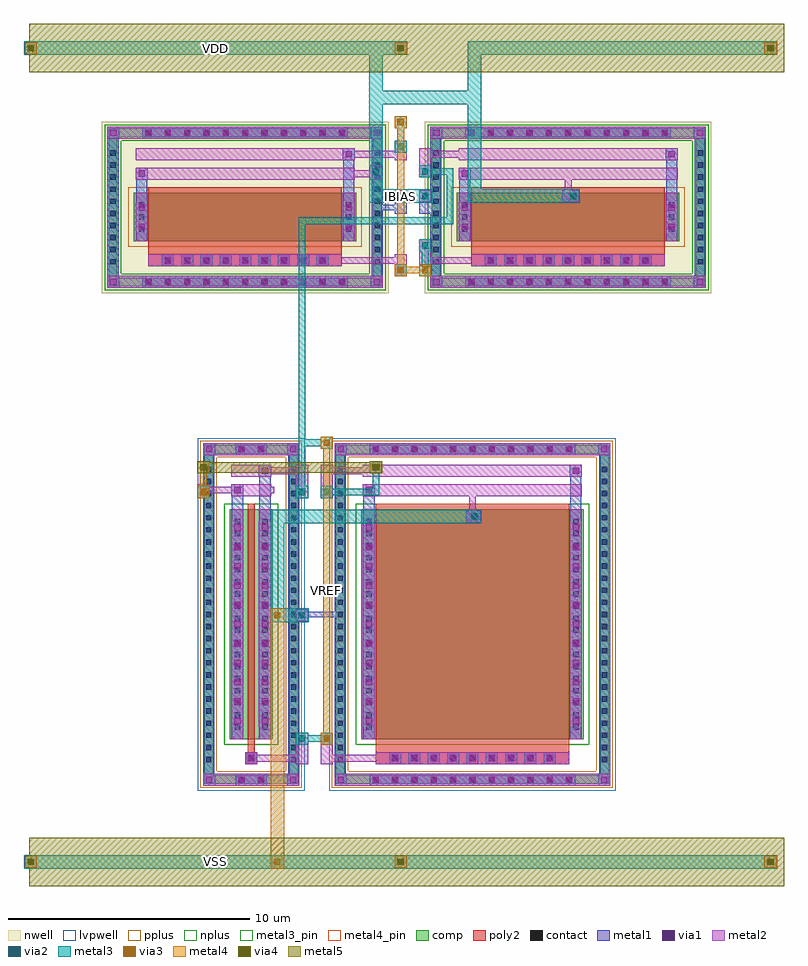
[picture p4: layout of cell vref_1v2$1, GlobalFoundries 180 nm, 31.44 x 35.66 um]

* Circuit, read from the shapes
.subckt vref_1v2$1 IBIAS VDD VREF VSS
XM1 VREF VREF n1 VSS nfet_03v3 w=9.5u l=0.28u
XM2 n1 VREF VSS VSS nfet_03v3 w=9.5u l=8u
XM3 IBIAS IBIAS VDD VDD pfet_03v3 w=2u l=8u
XM4 VREF IBIAS VDD VDD pfet_03v3 w=2u l=8u
.ends

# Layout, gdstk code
import gdstk
lib = gdstk.Library(unit=1e-6, precision=1e-09)
def R(c, l, rs):  # rectangles x0, y0, x1, y1
    for r in rs: c.add(gdstk.rectangle(r[:2], r[2:], *l))
def A(c, l, x, y, w, h, nx, ny, dx, dy):  # array of equal rectangles
    R(c, l, [(x+i*dx, y+j*dy, x+i*dx+w, y+j*dy+h) for i in range(nx) for j in range(ny)])
def P(c, l, *ps):  # polygons
    for p in ps: c.add(gdstk.Polygon(p, *l))
nwell = (21, 0)
comp = (22, 0)
poly2 = (30, 0)
pplus = (31, 0)
nplus = (32, 0)
contact = (33, 0)
metal1 = (34, 0)
via1 = (35, 0)
metal2 = (36, 0)
via2 = (38, 0)
via3 = (40, 0)
via4 = (41, 0)
metal3 = (42, 0)
metal3_pin = (42, 10)
metal4 = (46, 0)
metal4_pin = (46, 10)
metal5 = (81, 0)
lvpwell = (204, 0)

vref_1v2_1 = lib.new_cell('vref_1v2$1')
R(vref_1v2_1, nwell, [(-12.61,20.59,-0.75,27.68), (0.75,20.59,12.61,27.68)])
A(vref_1v2_1, comp, -1.46, 0.28, 0.36, 0.36, 11, 2, 0.8, 13.67)
A(vref_1v2_1, comp, -8.37, 1.115, 0.36, 0.36, 1, 25, 0, 0.5)
A(vref_1v2_1, comp, -4.85, 1.115, 0.36, 0.36, 1, 25, 0, 0.5)
A(vref_1v2_1, comp, -2.93, 1.115, 0.36, 0.36, 1, 25, 0, 0.5)
A(vref_1v2_1, comp, 8.01, 1.115, 0.36, 0.36, 1, 25, 0, 0.5)
A(vref_1v2_1, comp, -10.86, 20.87, 0.36, 0.36, 11, 2, 0.8, 6.17)
A(vref_1v2_1, comp, 2.5, 20.87, 0.36, 0.36, 11, 2, 0.8, 6.17)
A(vref_1v2_1, comp, -12.33, 21.705, 0.36, 0.36, 1, 10, 0, 0.5)
A(vref_1v2_1, comp, -1.39, 21.705, 0.36, 0.36, 1, 10, 0, 0.5)
A(vref_1v2_1, comp, 1.03, 21.705, 0.36, 0.36, 1, 10, 0, 0.5)
A(vref_1v2_1, comp, 11.97, 21.705, 0.36, 0.36, 1, 10, 0, 0.5)
R(vref_1v2_1, comp, [(-7.01,0.28,-6.65,0.64), (-7.01,0.28,-5.85,0.64), (-6.21,0.28,-5.85,0.64), (-1.46,0.28,6.9,0.64), (-8.37,1.115,-8.01,13.475), (-4.85,1.115,-4.49,13.475), (-2.93,1.115,-2.57,13.475), (8.01,1.115,8.37,13.475), (-7.32,2.14,-5.54,11.64), (-1.88,2.14,7.32,11.64), (-7.01,13.95,-6.65,14.31), (-7.01,13.95,-5.85,14.31), (-6.21,13.95,-5.85,14.31), (-1.46,13.95,6.9,14.31), (-10.86,20.87,-2.5,21.23), (2.5,20.87,10.86,21.23), (-12.33,21.705,-11.97,26.565), (-1.39,21.705,-1.03,26.565), (1.03,21.705,1.39,26.565), (11.97,21.705,12.33,26.565), (-11.28,22.73,-2.08,24.73), (2.08,22.73,11.28,24.73), (-10.86,27.04,-2.5,27.4), (2.5,27.04,10.86,27.4)])
P(vref_1v2_1, comp, [(-12.33,20.87),(-12.33,21.23),(-1.39,21.23),(-1.39,27.04),(-11.97,27.04),(-11.97,21.23),(-12.33,21.23),(-12.33,27.4),(-1.03,27.4),(-1.03,20.87)],
  [(-2.93,0.28),(-2.93,0.64),(8.01,0.64),(8.01,13.95),(-2.57,13.95),(-2.57,0.64),(-2.93,0.64),(-2.93,14.31),(8.37,14.31),(8.37,0.28)],
  [(-8.37,0.28),(-8.37,0.64),(-4.85,0.64),(-4.85,13.95),(-8.01,13.95),(-8.01,0.64),(-8.37,0.64),(-8.37,14.31),(-4.49,14.31),(-4.49,0.28)],
  [(1.03,20.87),(1.03,21.23),(11.97,21.23),(11.97,27.04),(1.39,27.04),(1.39,21.23),(1.03,21.23),(1.03,27.4),(12.33,27.4),(12.33,20.87)])
A(vref_1v2_1, poly2, -0.66, 1.17, 0.36, 0.36, 9, 1, 0.8, 0)
A(vref_1v2_1, poly2, -10.06, 21.76, 0.36, 0.36, 9, 1, 0.8, 0)
A(vref_1v2_1, poly2, 3.3, 21.76, 0.36, 0.36, 9, 1, 0.8, 0)
R(vref_1v2_1, poly2, [(-6.68,1.1,-6.18,1.6), (-1.28,1.1,6.72,1.6), (-6.61,1.17,-6.25,1.53), (-6.57,1.6,-6.29,1.9), (-1.28,1.6,6.72,1.9), (-6.57,1.9,-6.29,11.88), (-1.28,1.9,6.72,11.88), (-10.68,21.69,-2.68,22.19), (2.68,21.69,10.68,22.19), (-10.68,22.19,-2.68,22.49), (2.68,22.19,10.68,22.49), (-10.68,22.49,-2.68,24.97), (2.68,22.49,10.68,24.97)])
R(vref_1v2_1, pplus, [(-11.51,22.5,-1.85,24.96), (1.85,22.5,11.51,24.96)])
P(vref_1v2_1, pplus, [(-3.09,0.12),(-3.09,0.8),(7.85,0.8),(7.85,13.79),(-2.41,13.79),(-2.41,0.8),(-3.09,0.8),(-3.09,14.47),(8.53,14.47),(8.53,0.12)],
  [(-8.53,0.12),(-8.53,0.8),(-5.01,0.8),(-5.01,13.79),(-7.85,13.79),(-7.85,0.8),(-8.53,0.8),(-8.53,14.47),(-4.33,14.47),(-4.33,0.12)])
R(vref_1v2_1, nplus, [(-7.55,1.91,-5.31,11.87), (-2.11,1.91,7.55,11.87)])
P(vref_1v2_1, nplus, [(-12.49,20.71),(-12.49,21.39),(-1.55,21.39),(-1.55,26.88),(-11.81,26.88),(-11.81,21.39),(-12.49,21.39),(-12.49,27.56),(-0.87,27.56),(-0.87,20.71)],
  [(0.87,20.71),(0.87,21.39),(11.81,21.39),(11.81,26.88),(1.55,26.88),(1.55,21.39),(0.87,21.39),(0.87,27.56),(12.49,27.56),(12.49,20.71)])
A(vref_1v2_1, contact, -1.39, 0.35, 0.22, 0.22, 11, 2, 0.8, 13.67)
A(vref_1v2_1, contact, -8.3, 1.185, 0.22, 0.22, 1, 25, 0, 0.5)
A(vref_1v2_1, contact, -4.78, 1.185, 0.22, 0.22, 1, 25, 0, 0.5)
A(vref_1v2_1, contact, -2.86, 1.185, 0.22, 0.22, 1, 25, 0, 0.5)
A(vref_1v2_1, contact, 8.08, 1.185, 0.22, 0.22, 1, 25, 0, 0.5)
A(vref_1v2_1, contact, -0.59, 1.24, 0.22, 0.22, 9, 1, 0.8, 0)
A(vref_1v2_1, contact, -7.11, 2.53, 0.22, 0.22, 1, 18, 0, 0.5)
A(vref_1v2_1, contact, -5.97, 2.53, 0.22, 0.22, 1, 18, 0, 0.5)
A(vref_1v2_1, contact, -1.67, 2.53, 0.22, 0.22, 1, 18, 0, 0.5)
A(vref_1v2_1, contact, 6.89, 2.53, 0.22, 0.22, 1, 18, 0, 0.5)
A(vref_1v2_1, contact, -10.79, 20.94, 0.22, 0.22, 11, 2, 0.8, 6.17)
A(vref_1v2_1, contact, 2.57, 20.94, 0.22, 0.22, 11, 2, 0.8, 6.17)
A(vref_1v2_1, contact, -12.26, 21.775, 0.22, 0.22, 1, 10, 0, 0.5)
A(vref_1v2_1, contact, -1.32, 21.775, 0.22, 0.22, 1, 10, 0, 0.5)
A(vref_1v2_1, contact, 1.1, 21.775, 0.22, 0.22, 1, 10, 0, 0.5)
A(vref_1v2_1, contact, 12.04, 21.775, 0.22, 0.22, 1, 10, 0, 0.5)
A(vref_1v2_1, contact, -9.99, 21.83, 0.22, 0.22, 9, 1, 0.8, 0)
A(vref_1v2_1, contact, 3.37, 21.83, 0.22, 0.22, 9, 1, 0.8, 0)
A(vref_1v2_1, contact, -11.07, 23.12, 0.22, 0.22, 1, 3, 0, 0.5)
A(vref_1v2_1, contact, -2.51, 23.12, 0.22, 0.22, 1, 3, 0, 0.5)
A(vref_1v2_1, contact, 2.29, 23.12, 0.22, 0.22, 1, 3, 0, 0.5)
A(vref_1v2_1, contact, 10.85, 23.12, 0.22, 0.22, 1, 3, 0, 0.5)
R(vref_1v2_1, contact, [(-6.94,0.35,-6.72,0.57), (-6.14,0.35,-5.92,0.57), (-6.54,1.24,-6.32,1.46), (-6.94,14.02,-6.72,14.24), (-6.14,14.02,-5.92,14.24)])
A(vref_1v2_1, metal1, -1.53, 0.21, 0.5, 0.5, 11, 2, 0.8, 13.67)
A(vref_1v2_1, metal1, -8.42, 1.065, 0.46, 0.46, 1, 25, 0, 0.5)
A(vref_1v2_1, metal1, -4.9, 1.065, 0.46, 0.46, 1, 25, 0, 0.5)
A(vref_1v2_1, metal1, -2.98, 1.065, 0.46, 0.46, 1, 25, 0, 0.5)
A(vref_1v2_1, metal1, 7.96, 1.065, 0.46, 0.46, 1, 25, 0, 0.5)
A(vref_1v2_1, metal1, -0.73, 1.1, 0.5, 0.5, 9, 1, 0.8, 0)
A(vref_1v2_1, metal1, -7.23, 2.41, 0.46, 0.46, 1, 18, 0, 0.5)
A(vref_1v2_1, metal1, -6.09, 2.41, 0.46, 0.46, 1, 18, 0, 0.5)
A(vref_1v2_1, metal1, -1.79, 2.41, 0.46, 0.46, 1, 18, 0, 0.5)
A(vref_1v2_1, metal1, 6.77, 2.41, 0.46, 0.46, 1, 18, 0, 0.5)
A(vref_1v2_1, metal1, -7.25, 2.64, 0.5, 0.5, 1, 11, 0, 0.8)
A(vref_1v2_1, metal1, -6.11, 2.64, 0.5, 0.5, 1, 11, 0, 0.8)
A(vref_1v2_1, metal1, -1.81, 2.64, 0.5, 0.5, 1, 11, 0, 0.8)
A(vref_1v2_1, metal1, 6.75, 2.64, 0.5, 0.5, 1, 11, 0, 0.8)
A(vref_1v2_1, metal1, -10.93, 20.8, 0.5, 0.5, 11, 2, 0.8, 6.17)
A(vref_1v2_1, metal1, 2.43, 20.8, 0.5, 0.5, 11, 2, 0.8, 6.17)
A(vref_1v2_1, metal1, -12.38, 21.655, 0.46, 0.46, 1, 10, 0, 0.5)
A(vref_1v2_1, metal1, -1.44, 21.655, 0.46, 0.46, 1, 10, 0, 0.5)
A(vref_1v2_1, metal1, 0.98, 21.655, 0.46, 0.46, 1, 10, 0, 0.5)
A(vref_1v2_1, metal1, 11.92, 21.655, 0.46, 0.46, 1, 10, 0, 0.5)
A(vref_1v2_1, metal1, -10.13, 21.69, 0.5, 0.5, 9, 1, 0.8, 0)
A(vref_1v2_1, metal1, 3.23, 21.69, 0.5, 0.5, 9, 1, 0.8, 0)
A(vref_1v2_1, metal1, -11.19, 23, 0.46, 0.46, 1, 3, 0, 0.5)
A(vref_1v2_1, metal1, -2.63, 23, 0.46, 0.46, 1, 3, 0, 0.5)
A(vref_1v2_1, metal1, 2.17, 23, 0.46, 0.46, 1, 3, 0, 0.5)
A(vref_1v2_1, metal1, 10.73, 23, 0.46, 0.46, 1, 3, 0, 0.5)
R(vref_1v2_1, metal1, [(-8.42,0.21,-7.92,0.71), (-8.42,0.21,-7.92,0.71), (-8.42,0.21,-7.96,0.64), (-7.08,0.21,-6.58,0.71), (-7.08,0.21,-5.78,0.71), (-6.28,0.21,-5.78,0.71), (-4.94,0.21,-4.44,0.71), (-4.94,0.21,-4.44,0.71), (-4.9,0.21,-4.44,0.64), (-2.98,0.21,-2.48,0.71), (-2.98,0.21,-2.48,0.71), (-2.98,0.21,-2.52,0.64), (-1.53,0.21,6.97,0.71), (7.92,0.21,8.42,0.71), (7.92,0.21,8.42,0.71), (7.96,0.21,8.42,0.64), (-8.42,0.64,-7.96,13.95), (-4.9,0.64,-4.44,13.95), (-2.98,0.64,-2.52,13.95), (7.96,0.64,8.42,13.95), (-6.68,1.1,-6.18,1.6), (-7.23,2.14,-6.77,11.64), (-6.09,2.14,-5.63,11.64), (-1.79,2.14,-1.33,11.64), (6.77,2.14,7.23,11.64), (-7.25,2.64,-6.75,11.14), (-6.11,2.64,-5.61,11.14), (-1.81,2.64,-1.31,11.14), (6.75,2.64,7.25,11.14), (-4.58,7.01,-4.08,7.51), (-4.58,7.01,-4.08,7.55), (-4.58,7.01,-4.08,7.55), (-4.58,7.01,-4.08,7.55), (-4.58,7.01,-4.08,7.55), (-4.555,7.025,-4.44,7.185), (-4.555,7.025,-4.44,7.185), (-4.445,7.025,-4.44,7.185), (-4.445,7.025,-4.44,7.185), (-2.98,7.025,-2.865,7.185), (-2.98,7.025,-2.865,7.185), (-4.555,7.185,-4.215,7.415), (-4.555,7.185,-4.215,7.415), (-4.445,7.185,-2.865,7.415), (-4.445,7.185,-2.865,7.415), (-4.555,7.415,-4.44,7.565), (-4.555,7.415,-4.44,7.565), (-4.445,7.415,-4.44,7.565), (-4.445,7.415,-4.44,7.565), (-2.98,7.415,-2.865,7.565), (-2.98,7.415,-2.865,7.565), (-4.58,7.55,-4.44,7.565), (-4.58,7.55,-4.44,7.565), (-4.58,7.55,-4.44,7.565), (-4.58,7.55,-4.44,7.565), (-7.23,11.64,-6.77,12.69), (-6.09,11.64,-5.63,13.49), (-1.79,11.64,-1.33,12.69), (6.77,11.64,7.23,13.49), (-7.25,12.19,-6.75,12.69), (-1.81,12.19,-1.31,12.69), (-6.11,12.99,-5.61,13.49), (6.75,12.99,7.25,13.49), (-8.42,13.88,-7.92,14.38), (-8.42,13.88,-7.92,14.38), (-7.08,13.88,-6.58,14.38), (-7.08,13.88,-5.78,14.38), (-6.28,13.88,-5.78,14.38), (-4.94,13.88,-4.44,14.38), (-4.94,13.88,-4.44,14.38), (-2.98,13.88,-2.48,14.38), (-2.98,13.88,-2.48,14.38), (-1.53,13.88,6.97,14.38), (7.92,13.88,8.42,14.38), (7.92,13.88,8.42,14.38), (-8.42,13.95,-7.96,14.38), (-4.9,13.95,-4.44,14.38), (-2.98,13.95,-2.52,14.38), (7.96,13.95,8.42,14.38), (-12.38,20.8,-11.88,21.3), (-12.38,20.8,-11.88,21.3), (-12.38,20.8,-11.92,21.23), (-10.93,20.8,-2.43,21.3), (-1.48,20.8,-0.98,21.3), (-1.48,20.8,-0.98,21.3), (-1.44,20.8,-0.98,21.23), (0.98,20.8,1.48,21.3), (0.98,20.8,1.48,21.3), (0.98,20.8,1.44,21.23), (2.43,20.8,10.93,21.3), (11.88,20.8,12.38,21.3), (11.88,20.8,12.38,21.3), (11.92,20.8,12.38,21.23), (-12.38,21.23,-11.92,27.04), (-1.44,21.23,-0.98,27.04), (0.98,21.23,1.44,27.04), (11.92,21.23,12.38,27.04), (-11.19,22.73,-10.73,24.73), (-2.63,22.73,-2.17,24.73), (2.17,22.73,2.63,24.73), (10.73,22.73,11.19,24.73), (-11.21,23.08,-10.71,23.58), (-11.21,23.08,-10.71,24.38), (-2.65,23.08,-2.15,23.58), (-2.65,23.08,-2.15,24.38), (2.15,23.08,2.65,23.58), (2.15,23.08,2.65,24.38), (10.71,23.08,11.21,23.58), (10.71,23.08,11.21,24.38), (0.98,23.615,1.02,23.88), (-11.21,23.88,-10.71,24.38), (-2.65,23.88,-2.15,24.38), (-0.5,23.88,0,24.85), (0.52,23.88,1.02,24.85), (2.15,23.88,2.65,24.38), (10.71,23.88,11.21,24.38), (-1.095,24.015,-0.135,24.245), (0.655,24.015,1.095,24.245), (-0.5,24.35,0,24.85), (0.52,24.35,1.02,24.85), (-11.19,24.73,-10.73,25.78), (-2.63,24.73,-2.17,26.58), (2.17,24.73,2.63,25.78), (10.73,24.73,11.19,26.58), (-11.21,25.28,-10.71,25.78), (2.15,25.28,2.65,25.78), (-2.65,26.08,-2.15,26.58), (10.71,26.08,11.21,26.58), (-12.38,26.97,-11.88,27.47), (-12.38,26.97,-11.88,27.47), (-10.93,26.97,-2.43,27.47), (-1.48,26.97,-0.98,27.47), (-1.48,26.97,-0.98,27.47), (0.98,26.97,1.48,27.47), (0.98,26.97,1.48,27.47), (2.43,26.97,10.93,27.47), (11.88,26.97,12.38,27.47), (11.88,26.97,12.38,27.47), (-12.38,27.04,-11.92,27.47), (-1.44,27.04,-0.98,27.47), (0.98,27.04,1.44,27.47), (11.92,27.04,12.38,27.47)])
A(vref_1v2_1, via1, -1.41, 0.33, 0.26, 0.26, 11, 2, 0.8, 13.67)
A(vref_1v2_1, via1, -0.61, 1.22, 0.26, 0.26, 9, 1, 0.8, 0)
A(vref_1v2_1, via1, -7.13, 2.76, 0.26, 0.26, 1, 11, 0, 0.8)
A(vref_1v2_1, via1, -5.99, 2.76, 0.26, 0.26, 1, 11, 0, 0.8)
A(vref_1v2_1, via1, -1.69, 2.76, 0.26, 0.26, 1, 11, 0, 0.8)
A(vref_1v2_1, via1, 6.87, 2.76, 0.26, 0.26, 1, 11, 0, 0.8)
A(vref_1v2_1, via1, -10.81, 20.92, 0.26, 0.26, 11, 2, 0.8, 6.17)
A(vref_1v2_1, via1, 2.55, 20.92, 0.26, 0.26, 11, 2, 0.8, 6.17)
A(vref_1v2_1, via1, -10.01, 21.81, 0.26, 0.26, 9, 1, 0.8, 0)
A(vref_1v2_1, via1, 3.35, 21.81, 0.26, 0.26, 9, 1, 0.8, 0)
R(vref_1v2_1, via1, [(-8.3,0.33,-8.04,0.59), (-6.96,0.33,-6.7,0.59), (-6.16,0.33,-5.9,0.59), (-4.82,0.33,-4.56,0.59), (-2.86,0.33,-2.6,0.59), (8.04,0.33,8.3,0.59), (-6.56,1.22,-6.3,1.48), (-4.46,7.13,-4.2,7.39), (-7.13,12.31,-6.87,12.57), (-1.69,12.31,-1.43,12.57), (-5.99,13.11,-5.73,13.37), (6.87,13.11,7.13,13.37), (-8.3,14,-8.04,14.26), (-6.96,14,-6.7,14.26), (-6.16,14,-5.9,14.26), (-4.82,14,-4.56,14.26), (-2.86,14,-2.6,14.26), (8.04,14,8.3,14.26), (-12.26,20.92,-12,21.18), (-1.36,20.92,-1.1,21.18), (1.1,20.92,1.36,21.18), (12,20.92,12.26,21.18), (-11.09,23.2,-10.83,23.46), (-2.53,23.2,-2.27,23.46), (2.27,23.2,2.53,23.46), (10.83,23.2,11.09,23.46), (-11.09,24,-10.83,24.26), (-2.53,24,-2.27,24.26), (2.27,24,2.53,24.26), (10.83,24,11.09,24.26), (-0.38,24.47,-0.12,24.73), (0.64,24.47,0.9,24.73), (-11.09,25.4,-10.83,25.66), (2.27,25.4,2.53,25.66), (-2.53,26.2,-2.27,26.46), (10.83,26.2,11.09,26.46), (-12.26,27.09,-12,27.35), (-1.36,27.09,-1.1,27.35), (1.1,27.09,1.36,27.35), (12,27.09,12.26,27.35)])
A(vref_1v2_1, metal2, -1.53, 0.21, 0.5, 0.5, 11, 2, 0.8, 13.67)
A(vref_1v2_1, metal2, -0.73, 1.1, 0.5, 0.5, 9, 1, 0.8, 0)
A(vref_1v2_1, metal2, -4.58, 1.91, 0.5, 0.5, 1, 3, 0, 5.1)
A(vref_1v2_1, metal2, -7.25, 2.64, 0.5, 0.5, 1, 11, 0, 0.8)
A(vref_1v2_1, metal2, -6.11, 2.64, 0.5, 0.5, 1, 11, 0, 0.8)
A(vref_1v2_1, metal2, -1.81, 2.64, 0.5, 0.5, 1, 11, 0, 0.8)
A(vref_1v2_1, metal2, 6.75, 2.64, 0.5, 0.5, 1, 11, 0, 0.8)
A(vref_1v2_1, metal2, -10.93, 20.8, 0.5, 0.5, 11, 2, 0.8, 6.17)
A(vref_1v2_1, metal2, 2.43, 20.8, 0.5, 0.5, 11, 2, 0.8, 6.17)
A(vref_1v2_1, metal2, -10.13, 21.69, 0.5, 0.5, 9, 1, 0.8, 0)
A(vref_1v2_1, metal2, 3.23, 21.69, 0.5, 0.5, 9, 1, 0.8, 0)
R(vref_1v2_1, metal2, [(-8.42,0.21,-7.92,0.71), (-8.42,0.21,-7.92,0.71), (-8.42,0.21,-8.01,0.71), (-8.01,0.21,-4.85,0.71), (-7.08,0.21,-6.58,0.71), (-6.28,0.21,-5.78,0.71), (-4.94,0.21,-4.44,0.71), (-4.94,0.21,-4.44,0.71), (-4.85,0.21,-4.44,0.71), (-2.98,0.21,-2.48,0.71), (-2.98,0.21,-2.48,0.71), (-2.98,0.21,-2.57,0.71), (-2.57,0.21,8.01,0.71), (7.92,0.21,8.42,0.71), (7.92,0.21,8.42,0.71), (8.01,0.21,8.42,0.71), (-6.68,1.1,-6.18,1.6), (-6.68,1.1,-6.18,1.6), (-4.58,1.1,-4.08,2.41), (-3.56,1.1,-3.06,2.41), (-1.28,1.1,6.72,1.6), (-6.32,1.21,-4.19,1.49), (-3.45,1.21,-1.14,1.49), (-3.56,1.91,-3.06,2.41), (-7.25,2.14,-6.75,11.64), (-6.11,2.14,-5.61,11.64), (-1.81,2.14,-1.31,11.64), (6.75,2.14,7.25,11.64), (2.47,11.09,3.06,11.59), (2.56,11.09,3.06,11.59), (2.58,11.2,2.86,12.33), (-8.66,12.11,-8.16,12.61), (-8.66,12.11,-8.16,12.69), (-4.58,12.11,-4.08,13.49), (-3.56,12.11,-3.06,12.61), (-3.56,12.11,-3.06,13.49), (-7.25,12.19,-6.75,12.69), (-7.25,12.19,-5.61,12.69), (-1.81,12.19,7.25,12.69), (-1.81,12.19,-1.31,12.69), (-8.55,12.3,-5.47,12.58), (-7.25,12.99,-5.61,13.49), (-6.11,12.99,-5.61,13.49), (-1.81,12.99,7.25,13.49), (6.75,12.99,7.25,13.49), (-5.75,13.1,-4.19,13.38), (-3.45,13.1,-1.67,13.38), (-8.42,13.88,-7.92,14.38), (-8.42,13.88,-7.92,14.38), (-8.42,13.88,-8.01,14.38), (-8.01,13.88,-4.85,14.38), (-7.08,13.88,-6.58,14.38), (-6.28,13.88,-5.78,14.38), (-4.94,13.88,-4.44,14.38), (-4.94,13.88,-4.44,14.38), (-4.85,13.88,-4.44,14.38), (-2.98,13.88,-2.48,14.38), (-2.98,13.88,-2.48,14.38), (-2.98,13.88,-2.57,14.38), (-2.57,13.88,8.01,14.38), (7.92,13.88,8.42,14.38), (7.92,13.88,8.42,14.38), (8.01,13.88,8.42,14.38), (-12.38,20.8,-11.88,21.3), (-12.38,20.8,-11.88,21.3), (-12.38,20.8,-11.97,21.3), (-11.97,20.8,-1.39,21.3), (-1.48,20.8,-0.98,21.3), (-1.48,20.8,-0.98,21.3), (-1.39,20.8,-0.98,21.3), (0.98,20.8,1.48,21.3), (0.98,20.8,1.48,21.3), (0.98,20.8,1.39,21.3), (1.39,20.8,11.97,21.3), (11.88,20.8,12.38,21.3), (11.88,20.8,12.38,21.3), (11.97,20.8,12.38,21.3), (-0.5,21.29,0,21.79), (-0.5,21.29,0,22.19), (-10.68,21.69,-2.68,22.19), (0.52,21.69,1.02,22.81), (2.68,21.69,10.68,22.19), (-2.82,21.8,-0.11,22.08), (0.63,21.8,2.82,22.08), (0.52,22.31,1.02,22.81), (-11.21,22.73,-10.71,24.73), (-2.65,22.73,-2.15,24.73), (2.15,22.73,2.65,24.73), (10.71,22.73,11.21,24.73), (-11.21,23.08,-10.71,23.58), (-2.65,23.08,-2.15,23.58), (2.15,23.08,2.65,23.58), (10.71,23.08,11.21,23.58), (-11.21,23.88,-10.71,24.38), (-2.65,23.88,-2.15,24.38), (2.15,23.88,2.65,24.38), (10.71,23.88,11.21,24.38), (-0.5,24.35,0,24.85), (0.52,24.35,1.02,24.85), (6.43,24.35,7.14,24.85), (6.64,24.35,7.14,24.85), (6.54,24.46,6.82,25.42), (-11.21,25.28,-2.15,25.78), (-11.21,25.28,-10.71,25.78), (-1.52,25.28,-1.02,25.87), (2.15,25.28,11.21,25.78), (2.15,25.28,2.65,25.78), (-1.52,25.37,-1.02,25.87), (0.52,25.37,1.02,25.87), (0.52,25.37,1.02,26.58), (-2.29,25.39,-1.13,25.67), (-11.21,26.08,-2.15,26.58), (-2.65,26.08,-2.15,26.58), (-0.5,26.08,0,26.89), (2.15,26.08,11.21,26.58), (10.71,26.08,11.21,26.58), (-2.29,26.19,-0.11,26.47), (0.63,26.19,2.29,26.47), (-0.5,26.39,0,26.89), (-12.38,26.97,-11.88,27.47), (-12.38,26.97,-11.88,27.47), (-12.38,26.97,-11.97,27.47), (-11.97,26.97,-1.39,27.47), (-1.48,26.97,-0.98,27.47), (-1.48,26.97,-0.98,27.47), (-1.39,26.97,-0.98,27.47), (0.98,26.97,1.48,27.47), (0.98,26.97,1.48,27.47), (0.98,26.97,1.39,27.47), (1.39,26.97,11.97,27.47), (11.88,26.97,12.38,27.47), (11.88,26.97,12.38,27.47), (11.97,26.97,12.38,27.47)])
A(vref_1v2_1, via2, -4.46, 2.03, 0.26, 0.26, 1, 3, 0, 5.1)
R(vref_1v2_1, via2, [(-3.44,2.03,-3.18,2.29), (2.68,11.21,2.94,11.47), (-8.54,12.23,-8.28,12.49), (-3.44,12.23,-3.18,12.49), (-0.38,21.41,-0.12,21.67), (0.64,22.43,0.9,22.69), (-0.38,24.47,-0.12,24.73), (0.64,24.47,0.9,24.73), (6.76,24.47,7.02,24.73), (-1.4,25.49,-1.14,25.75), (0.64,25.49,0.9,25.75), (-0.38,26.51,-0.12,26.77)])
A(vref_1v2_1, via3, -15.68, 30.59, 0.26, 0.26, 3, 1, 15.3, 0)
R(vref_1v2_1, via3, [(-15.68,-3.07,-15.42,-2.81), (-5.48,-3.07,-5.22,-2.81), (-0.38,-3.07,-0.12,-2.81), (14.92,-3.07,15.18,-2.81), (-3.44,2.03,-3.18,2.29), (-5.48,7.13,-5.22,7.39), (-8.54,12.23,-8.28,12.49), (-1.4,13.25,-1.14,13.51), (-3.44,14.27,-3.18,14.53), (-0.38,21.41,-0.12,21.67), (0.64,21.41,0.9,21.67), (-0.38,27.53,-0.12,27.79)])
A(vref_1v2_1, via4, -15.68, -3.07, 0.26, 0.26, 3, 2, 15.3, 33.66)
R(vref_1v2_1, via4, [(-8.54,13.25,-8.28,13.51), (-1.4,13.25,-1.14,13.51)])
A(vref_1v2_1, metal3, -4.58, 1.91, 0.5, 0.5, 1, 3, 0, 5.1)
A(vref_1v2_1, metal3, -15.8, 30.47, 0.5, 0.5, 3, 1, 15.3, 0)
R(vref_1v2_1, metal3, [(-15.83,-3.22,0.03,-2.66), (-0.53,-3.22,15.33,-2.66), (-15.8,-3.19,-15.3,-2.69), (-5.6,-3.19,-5.1,-2.69), (-0.5,-3.19,0,-2.69), (14.8,-3.19,15.3,-2.69), (-3.56,1.91,-3.06,2.41), (-3.56,1.91,-3.06,2.41), (-4.47,2.02,-3.17,2.3), (-5.63,6.98,-4.05,7.54), (-5.63,6.98,-5.07,11.62), (-5.6,7.01,-5.1,7.51), (-5.63,11.06,3.09,11.62), (2.56,11.09,3.06,11.59), (-8.66,12.11,-8.16,12.61), (-8.66,12.11,-8.16,12.61), (-3.56,12.11,-3.06,12.61), (-4.47,12.22,-4.19,23.72), (-3.45,12.22,-1.13,12.5), (-1.41,12.22,-1.13,13.52), (-1.52,13.13,-1.02,13.63), (-3.56,14.15,-3.06,14.65), (-4.47,14.26,-3.17,14.54), (-0.5,21.29,0,21.79), (-0.5,21.29,0,21.79), (0.52,21.29,1.02,21.79), (0.63,21.4,0.91,22.7), (0.52,22.31,1.02,22.81), (-4.47,23.44,1.93,23.72), (1.65,23.44,1.93,25.76), (-1.55,24.32,0.03,24.88), (-1.55,24.32,-0.99,25.9), (-0.53,24.32,1.05,24.88), (2.53,24.32,7.17,24.88), (2.53,24.32,3.09,28.96), (-0.5,24.35,0,24.85), (0.52,24.35,1.02,24.85), (6.64,24.35,7.14,24.85), (-1.55,25.34,-0.99,31), (-1.52,25.37,-1.02,25.87), (0.52,25.37,1.02,25.87), (0.63,25.48,1.93,25.76), (-0.5,26.39,0,26.89), (-0.39,26.5,-0.11,27.8), (-0.5,27.41,0,27.91), (-1.55,28.4,3.09,28.96), (2.53,28.4,3.09,31), (-15.83,30.44,0.03,31), (2.53,30.44,15.33,31)])
R(vref_1v2_1, metal3_pin, [(-8.18,-3.22,-7.62,-2.66), (-8.18,30.44,-7.62,31)])
A(vref_1v2_1, metal4, -15.8, 30.47, 0.5, 0.5, 3, 1, 15.3, 0)
R(vref_1v2_1, metal4, [(-5.63,-3.22,-5.07,7.54), (-15.8,-3.19,-15.3,-2.69), (-5.6,-3.19,-5.1,-2.69), (-0.5,-3.19,0,-2.69), (14.8,-3.19,15.3,-2.69), (-3.56,1.91,-3.06,2.41), (-3.45,2.02,-3.17,14.54), (-5.6,7.01,-5.1,7.51), (-8.66,12.11,-8.16,12.61), (-8.55,12.22,-8.27,13.52), (-8.66,13.13,-8.16,13.63), (-1.52,13.13,-1.02,13.63), (-1.52,13.13,-1.02,13.63), (-3.56,14.15,-3.06,14.65), (-0.5,21.29,0,21.79), (0.52,21.29,1.02,21.79), (-0.39,21.4,-0.11,27.8), (-0.39,21.4,0.91,21.68), (-0.5,27.41,0,27.91)])
R(vref_1v2_1, metal4_pin, [(-3.45,8.14,-3.17,8.42), (-0.39,24.46,-0.11,24.74)])
A(vref_1v2_1, metal5, -15.8, -3.19, 0.5, 0.5, 3, 2, 15.3, 33.66)
R(vref_1v2_1, metal5, [(-15.61,-3.94,15.61,-1.94), (-8.66,13.13,-8.16,13.63), (-1.52,13.13,-1.02,13.63), (-8.63,13.16,-1.05,13.6), (-15.61,29.72,15.61,31.72)])
R(vref_1v2_1, lvpwell, [(-8.65,0,-4.21,14.59), (-3.21,0,8.65,14.59)])
vref_1v2_1.add(gdstk.Label('IBIAS', (-0.25,24.6), layer=46, texttype=10))
vref_1v2_1.add(gdstk.Label('VREF', (-3.31,8.28), layer=46, texttype=10))
vref_1v2_1.add(gdstk.Label('VSS', (-7.9,-2.94), layer=42, texttype=10))
vref_1v2_1.add(gdstk.Label('VDD', (-7.9,30.72), layer=42, texttype=10))

lib.write_gds('vref_1v2_1.gds')
